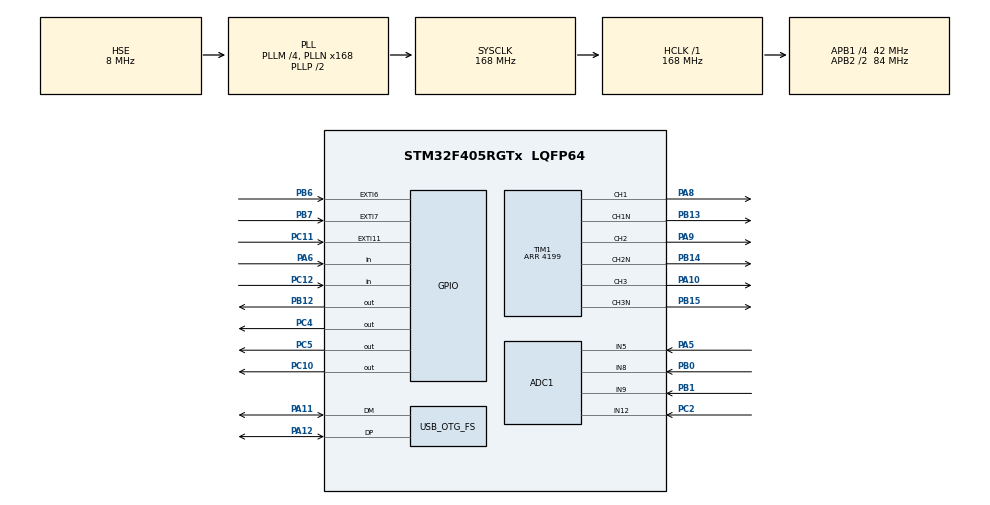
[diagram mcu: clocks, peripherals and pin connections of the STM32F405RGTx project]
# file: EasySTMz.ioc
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ADC1.Channel-0\#ChannelRegularConversion=ADC_CHANNEL_5
ADC1.Channel-1\#ChannelInjectedConversion=ADC_CHANNEL_8
ADC1.Channel-2\#ChannelInjectedConversion=ADC_CHANNEL_9
ADC1.Channel-3\#ChannelRegularConversion=ADC_CHANNEL_12
ADC1.ExternalTrigInjecConv=ADC_EXTERNALTRIGINJECCONV_T1_TRGO
ADC1.InjNumberOfConversion=2
ADC1.InjectedOffset-1\#ChannelInjectedConversion=0
ADC1.InjectedOffset-2\#ChannelInjectedConversion=0
ADC1.InjectedRank-1\#ChannelInjectedConversion=1
ADC1.InjectedRank-2\#ChannelInjectedConversion=2
ADC1.NbrOfConversion=2
ADC1.NbrOfConversionFlag=1
ADC1.Rank-0\#ChannelRegularConversion=1
ADC1.Rank-3\#ChannelRegularConversion=2
ADC1.SamplingTime-0\#ChannelRegularConversion=ADC_SAMPLETIME_84CYCLES
ADC1.SamplingTime-1\#ChannelInjectedConversion=ADC_SAMPLETIME_15CYCLES
ADC1.SamplingTime-2\#ChannelInjectedConversion=ADC_SAMPLETIME_15CYCLES
ADC1.SamplingTime-3\#ChannelRegularConversion=ADC_SAMPLETIME_84CYCLES
ADC1.master=1
Mcu.Family=STM32F4
Mcu.Name=STM32F405RGTx
Mcu.Package=LQFP64
NVIC.ADC_IRQn=true\:0\:0\:false\:false\:true\:true\:true\:true
NVIC.EXTI15_10_IRQn=true\:1\:0\:true\:false\:true\:true\:true\:true
NVIC.EXTI9_5_IRQn=true\:1\:0\:true\:false\:true\:true\:true\:true
NVIC.OTG_FS_IRQn=true\:0\:0\:false\:false\:true\:false\:true\:true
NVIC.PriorityGroup=NVIC_PRIORITYGROUP_4
PA10.Signal=S_TIM1_CH3
PA11.Mode=Device_Only
PA11.Signal=USB_OTG_FS_DM
PA12.Mode=Device_Only
PA12.Signal=USB_OTG_FS_DP
PA13.Mode=Serial_Wire
PA13.Signal=SYS_JTMS-SWDIO
PA14.Mode=Serial_Wire
PA14.Signal=SYS_JTCK-SWCLK
PA5.Signal=ADCx_IN5
PA6.Signal=GPIO_Input
PA8.Signal=S_TIM1_CH1
PA9.Signal=S_TIM1_CH2
PB0.Signal=ADCx_IN8
PB1.Signal=ADCx_IN9
PB12.Signal=GPIO_Output
PB13.Mode=PWM Generation1 CH1 CH1N
PB13.Signal=TIM1_CH1N
PB14.Mode=PWM Generation2 CH2 CH2N
PB14.Signal=TIM1_CH2N
PB15.Mode=PWM Generation3 CH3 CH3N
PB15.Signal=TIM1_CH3N
PB6.GPIO_ModeDefaultEXTI=GPIO_MODE_IT_RISING_FALLING
PB6.Signal=GPXTI6
PB7.GPIO_ModeDefaultEXTI=GPIO_MODE_IT_RISING_FALLING
PB7.Signal=GPXTI7
PC10.Signal=GPIO_Output
PC11.GPIO_ModeDefaultEXTI=GPIO_MODE_IT_RISING_FALLING
PC11.Signal=GPXTI11
PC12.GPIO_PuPd=GPIO_PULLUP
PC12.Signal=GPIO_Input
PC2.Signal=ADCx_IN12
PC4.Signal=GPIO_Output
PC5.Signal=GPIO_Output
PH0-OSC_IN.Mode=HSE-External-Oscillator
PH0-OSC_IN.Signal=RCC_OSC_IN
PH1-OSC_OUT.Mode=HSE-External-Oscillator
PH1-OSC_OUT.Signal=RCC_OSC_OUT
ProjectManager.HeapSize=0x600
ProjectManager.StackSize=0x1000
ProjectManager.TargetToolchain=STM32CubeIDE
RCC.48MHZClocksFreq_Value=48000000
RCC.AHBFreq_Value=168000000
RCC.APB1CLKDivider=RCC_HCLK_DIV4
RCC.APB1Freq_Value=42000000
RCC.APB1TimFreq_Value=84000000
RCC.APB2CLKDivider=RCC_HCLK_DIV2
RCC.APB2Freq_Value=84000000
RCC.APB2TimFreq_Value=168000000
RCC.CortexFreq_Value=168000000
RCC.HCLKFreq_Value=168000000
RCC.HSE_VALUE=8000000
RCC.HSI_VALUE=16000000
RCC.LSE_VALUE=32768
RCC.PLLM=4
RCC.PLLN=168
RCC.PLLQ=7
RCC.SYSCLKFreq_VALUE=168000000
RCC.SYSCLKSource=RCC_SYSCLKSOURCE_PLLCLK
RCC.VCOOutputFreq_Value=336000000
SH.ADCx_IN12.0=ADC1_IN12,IN12
SH.ADCx_IN5.0=ADC1_IN5,IN5
SH.ADCx_IN8.0=ADC1_IN8,IN8
SH.ADCx_IN9.0=ADC1_IN9,IN9
SH.S_TIM1_CH1.0=TIM1_CH1,PWM Generation1 CH1 CH1N
SH.S_TIM1_CH2.0=TIM1_CH2,PWM Generation2 CH2 CH2N
SH.S_TIM1_CH3.0=TIM1_CH3,PWM Generation3 CH3 CH3N
TIM1.Channel-PWM\ Generation1\ CH1\ CH1N=TIM_CHANNEL_1
TIM1.Channel-PWM\ Generation2\ CH2\ CH2N=TIM_CHANNEL_2
TIM1.Channel-PWM\ Generation3\ CH3\ CH3N=TIM_CHANNEL_3
TIM1.CounterMode=TIM_COUNTERMODE_CENTERALIGNED1
TIM1.DeadTime=67
TIM1.Period=4199
TIM1.RepetitionCounter=1
TIM1.TIM_MasterOutputTrigger=TIM_TRGO_UPDATE
USB_DEVICE.CLASS_NAME_FS=CDC
USB_DEVICE.VirtualMode-CDC_FS=Cdc
USB_DEVICE.VirtualModeFS=Cdc_FS
USB_OTG_FS.VirtualMode=Device_Only
VP_USB_DEVICE_VS_USB_DEVICE_CDC_FS.Mode=CDC_FS
board=custom

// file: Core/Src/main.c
/* USER CODE BEGIN Header */
/**
  ******************************************************************************
  * @file           : main.c
  * @brief          : Main program body
  ******************************************************************************
  * @attention
  *
  * Copyright (c) 2026 STMicroelectronics.
  * All rights reserved.
  *
  * This software is licensed under terms that can be found in the LICENSE file
  * in the root directory of this software component.
  * If no LICENSE file comes with this software, it is provided AS-IS.
  *
  ******************************************************************************
  */
/* USER CODE END Header */
#include "main.h"
#include "usb_device.h"

/* USER CODE BEGIN Includes */
#include "main.h"
#include "usb_device.h"
#include "usbd_cdc_if.h"
#include <stdio.h>
/* USER CODE END Includes */

ADC_HandleTypeDef hadc1;

TIM_HandleTypeDef htim1;

/* USER CODE BEGIN PV */
volatile uint8_t usb_throttle_target = 0;
const uint8_t hallToMotor[8] = {255, 1, 3, 2, 5, 6, 4, 255};

uint32_t lastDebugPrint = 0;
uint32_t faultResetCount = 0;
float v_bat = 0.0f;
uint16_t raw_throttle = 0;

// Variables to catch the hardware-synced ADC readings
volatile uint16_t current_phase_A = 0;
volatile uint16_t current_phase_C = 0;
/* USER CODE END PV */

void SystemClock_Config(void);
static void MX_GPIO_Init(void);
static void MX_ADC1_Init(void);
static void MX_TIM1_Init(void);
/* USER CODE BEGIN PFP */
void Commutate(uint8_t state, uint16_t throttle);
/* USER CODE END PFP */

/* USER CODE BEGIN 0 */

// Retarget standard library printf to the USB CDC interface safely
int _write(int file, char *ptr, int len) {
    uint32_t timeout = 500000; // Failsafe timeout to prevent locking the MCU

    // Wait until the USB interface is no longer BUSY
    while (CDC_Transmit_FS((uint8_t*)ptr, len) == USBD_BUSY && timeout-- > 0) {
        // Do nothing, just wait
    }
    return len;
}
/* USER CODE END 0 */

int main(void)
{

  /* MCU Configuration--------------------------------------------------------*/

  /* Reset of all peripherals, Initializes the Flash interface and the Systick. */
  HAL_Init();

  /* Configure the system clock */
  SystemClock_Config();

  /* Initialize all configured peripherals */
  MX_GPIO_Init();
  MX_ADC1_Init();
  MX_TIM1_Init();
  MX_USB_DEVICE_Init();
  /* USER CODE BEGIN 2 */
  // Start the High-Side PWM channels
  HAL_TIM_PWM_Start(&htim1, TIM_CHANNEL_1); // Phase C
  HAL_TIM_PWM_Start(&htim1, TIM_CHANNEL_2); // Phase B
  HAL_TIM_PWM_Start(&htim1, TIM_CHANNEL_3); // Phase A

  // Start the Low-Side Complementary channels
  HAL_TIMEx_PWMN_Start(&htim1, TIM_CHANNEL_1);
  HAL_TIMEx_PWMN_Start(&htim1, TIM_CHANNEL_2);
  HAL_TIMEx_PWMN_Start(&htim1, TIM_CHANNEL_3);

  Commutate(0, 0);
  // 2. Start the Hardware-Synced Current Sensing
  HAL_ADCEx_InjectedStart_IT(&hadc1);

  setvbuf(stdout, NULL, _IONBF, 0); // Disable printf buffering
  // 3. Calibrate ADC & Check High Voltage
  printf("Waiting for High Voltage power supply...\r\n");
  do {
	HAL_ADC_Start(&hadc1);
	HAL_ADC_PollForConversion(&hadc1, 5);
	HAL_ADC_GetValue(&hadc1);             // <-- ADD THIS: Physically pulls data to clear EOC flag
	HAL_ADC_PollForConversion(&hadc1, 5);
	uint16_t raw_v = HAL_ADC_GetValue(&hadc1);
	v_bat = (raw_v / 4095.0f) * 3.3f * ((39000.0f + 2200.0f) / 2200.0f);
	HAL_Delay(100);
  } while (v_bat < 8.0f);

  printf("SUCCESS: High Voltage detected at %.2fV\r\n", v_bat);

  // 4. Enable the DRV8302 Gate Driver
  HAL_GPIO_WritePin(GPIOC, GPIO_PIN_10, GPIO_PIN_SET); // EN_GATE HIGH
  HAL_Delay(100);
  /* USER CODE END 2 */

  /* Infinite loop */
  while (1)
  {

    /* USER CODE BEGIN 3 */
	  // --- Kickstart & Instant-Stop Logic ---
	  static uint8_t active_throttle = 0;

	  if (usb_throttle_target > 0 && active_throttle == 0) {
		  // Kickstart: The motor is stopped. Read halls manually to fire the first commutation.
		  uint8_t hallA = (GPIOB->IDR & GPIO_PIN_6)  ? 1 : 0;
		  uint8_t hallB = (GPIOB->IDR & GPIO_PIN_7)  ? 1 : 0;
		  uint8_t hallC = (GPIOC->IDR & GPIO_PIN_11) ? 1 : 0;
		  uint8_t hall_val = hallA | (hallB << 1) | (hallC << 2);

		  Commutate(hallToMotor[hall_val], usb_throttle_target);
	  }
	  else if (usb_throttle_target == 0 && active_throttle > 0) {
		  // Instant Stop: Cut power immediately instead of waiting for a slow coasting interrupt
		  Commutate(0, 0);
	  }

	  active_throttle = usb_throttle_target; // Update the tracker
	  // ===== 1. Hardware Fault Check (DRV8302 Active-Low Fault) =====
	  if (HAL_GPIO_ReadPin(GPIOC, GPIO_PIN_12) == GPIO_PIN_RESET) {
		  faultResetCount++;

		  // --- ADD THESE TWO LINES FOR SAFETY ---
		  usb_throttle_target = 0; // Force user to manually throttle up again
		  Commutate(0, 0);         // Instantly disconnect all MOSFETs

		  HAL_GPIO_WritePin(GPIOC, GPIO_PIN_5, GPIO_PIN_SET); // LED_RED ON
		  printf("!!! DRV FAULT !!! Resetting EN_GATE. Throttle Zeroed.\r\n");

		  // Pulse EN_GATE low to clear latched faults
		  HAL_GPIO_WritePin(GPIOC, GPIO_PIN_10, GPIO_PIN_RESET);
		  HAL_Delay(1); // 1 ms guarantees a successful hardware latch clear
		  HAL_GPIO_WritePin(GPIOC, GPIO_PIN_10, GPIO_PIN_SET);
	  } else {
		  HAL_GPIO_WritePin(GPIOC, GPIO_PIN_5, GPIO_PIN_RESET); // LED_RED OFF
	  }

	  // ===== 2. Read Regular ADC (Throttle & Voltage) =====
	  HAL_ADC_Start(&hadc1);
	  if (HAL_ADC_PollForConversion(&hadc1, 5) == HAL_OK) {
		  raw_throttle = HAL_ADC_GetValue(&hadc1); // Rank 1: Throttle
	  }
	  if (HAL_ADC_PollForConversion(&hadc1, 5) == HAL_OK) {
		  uint16_t raw_v = HAL_ADC_GetValue(&hadc1); // Rank 2: Bus Voltage
		  v_bat = (raw_v / 4095.0f) * 3.3f * ((39000.0f + 2200.0f) / 2200.0f);
	  }

	  // Turn on Green LED if throttle is active (using your USB override variable)
	  HAL_GPIO_WritePin(GPIOC, GPIO_PIN_4, (usb_throttle_target > 0) ? GPIO_PIN_SET : GPIO_PIN_RESET);

	  // ===== 3. Telemetry Heartbeat (Non-blocking, 500ms) =====
	  if (HAL_GetTick() - lastDebugPrint >= 500) {
		  lastDebugPrint = HAL_GetTick();

		  printf("[DATA] Thr_Target: %d | IA_Raw: %d | IC_Raw: %d | Bus: %.2fV | Resets: %lu\r\n",
				  usb_throttle_target,
				  current_phase_A,
				  current_phase_C,
				  v_bat,
				  faultResetCount);
	  }
  }
  /* USER CODE END 3 */
}

void SystemClock_Config(void)
{
  RCC_OscInitTypeDef RCC_OscInitStruct = {0};
  RCC_ClkInitTypeDef RCC_ClkInitStruct = {0};

  /** Configure the main internal regulator output voltage
  */
  __HAL_RCC_PWR_CLK_ENABLE();
  __HAL_PWR_VOLTAGESCALING_CONFIG(PWR_REGULATOR_VOLTAGE_SCALE1);

  /** Initializes the RCC Oscillators according to the specified parameters
  * in the RCC_OscInitTypeDef structure.
  */
  RCC_OscInitStruct.OscillatorType = RCC_OSCILLATORTYPE_HSE;
  RCC_OscInitStruct.HSEState = RCC_HSE_ON;
  RCC_OscInitStruct.PLL.PLLState = RCC_PLL_ON;
  RCC_OscInitStruct.PLL.PLLSource = RCC_PLLSOURCE_HSE;
  RCC_OscInitStruct.PLL.PLLM = 4;
  RCC_OscInitStruct.PLL.PLLN = 168;
  RCC_OscInitStruct.PLL.PLLP = RCC_PLLP_DIV2;
  RCC_OscInitStruct.PLL.PLLQ = 7;
  if (HAL_RCC_OscConfig(&RCC_OscInitStruct) != HAL_OK)
  {
    Error_Handler();
  }

  /** Initializes the CPU, AHB and APB buses clocks
  */
  RCC_ClkInitStruct.ClockType = RCC_CLOCKTYPE_HCLK|RCC_CLOCKTYPE_SYSCLK
                              |RCC_CLOCKTYPE_PCLK1|RCC_CLOCKTYPE_PCLK2;
  RCC_ClkInitStruct.SYSCLKSource = RCC_SYSCLKSOURCE_PLLCLK;
  RCC_ClkInitStruct.AHBCLKDivider = RCC_SYSCLK_DIV1;
  RCC_ClkInitStruct.APB1CLKDivider = RCC_HCLK_DIV4;
  RCC_ClkInitStruct.APB2CLKDivider = RCC_HCLK_DIV2;

  if (HAL_RCC_ClockConfig(&RCC_ClkInitStruct, FLASH_LATENCY_5) != HAL_OK)
  {
    Error_Handler();
  }
}

static void MX_ADC1_Init(void)
{

  ADC_ChannelConfTypeDef sConfig = {0};
  ADC_InjectionConfTypeDef sConfigInjected = {0};

  /** Configure the global features of the ADC (Clock, Resolution, Data Alignment and number of conversion)
  */
  hadc1.Instance = ADC1;
  hadc1.Init.ClockPrescaler = ADC_CLOCK_SYNC_PCLK_DIV4;
  hadc1.Init.Resolution = ADC_RESOLUTION_12B;
  hadc1.Init.ScanConvMode = ENABLE;
  hadc1.Init.ContinuousConvMode = DISABLE;
  hadc1.Init.DiscontinuousConvMode = DISABLE;
  hadc1.Init.ExternalTrigConvEdge = ADC_EXTERNALTRIGCONVEDGE_NONE;
  hadc1.Init.ExternalTrigConv = ADC_SOFTWARE_START;
  hadc1.Init.DataAlign = ADC_DATAALIGN_RIGHT;
  hadc1.Init.NbrOfConversion = 2;
  hadc1.Init.DMAContinuousRequests = DISABLE;
  hadc1.Init.EOCSelection = ADC_EOC_SINGLE_CONV;
  if (HAL_ADC_Init(&hadc1) != HAL_OK)
  {
    Error_Handler();
  }

  /** Configure for the selected ADC regular channel its corresponding rank in the sequencer and its sample time.
  */
  sConfig.Channel = ADC_CHANNEL_5;
  sConfig.Rank = 1;
  sConfig.SamplingTime = ADC_SAMPLETIME_84CYCLES;
  if (HAL_ADC_ConfigChannel(&hadc1, &sConfig) != HAL_OK)
  {
    Error_Handler();
  }

  /** Configure for the selected ADC regular channel its corresponding rank in the sequencer and its sample time.
  */
  sConfig.Channel = ADC_CHANNEL_12;
  sConfig.Rank = 2;
  if (HAL_ADC_ConfigChannel(&hadc1, &sConfig) != HAL_OK)
  {
    Error_Handler();
  }

  /** Configures for the selected ADC injected channel its corresponding rank in the sequencer and its sample time
  */
  sConfigInjected.InjectedChannel = ADC_CHANNEL_8;
  sConfigInjected.InjectedRank = 1;
  sConfigInjected.InjectedNbrOfConversion = 2;
  sConfigInjected.InjectedSamplingTime = ADC_SAMPLETIME_15CYCLES;
  sConfigInjected.ExternalTrigInjecConvEdge = ADC_EXTERNALTRIGINJECCONVEDGE_RISING;
  sConfigInjected.ExternalTrigInjecConv = ADC_EXTERNALTRIGINJECCONV_T1_TRGO;
  sConfigInjected.AutoInjectedConv = DISABLE;
  sConfigInjected.InjectedDiscontinuousConvMode = DISABLE;
  sConfigInjected.InjectedOffset = 0;
  if (HAL_ADCEx_InjectedConfigChannel(&hadc1, &sConfigInjected) != HAL_OK)
  {
    Error_Handler();
  }

  /** Configures for the selected ADC injected channel its corresponding rank in the sequencer and its sample time
  */
  sConfigInjected.InjectedChannel = ADC_CHANNEL_9;
  sConfigInjected.InjectedRank = 2;
  if (HAL_ADCEx_InjectedConfigChannel(&hadc1, &sConfigInjected) != HAL_OK)
  {
    Error_Handler();
  }

}

static void MX_TIM1_Init(void)
{

  TIM_MasterConfigTypeDef sMasterConfig = {0};
  TIM_OC_InitTypeDef sConfigOC = {0};
  TIM_BreakDeadTimeConfigTypeDef sBreakDeadTimeConfig = {0};

  htim1.Instance = TIM1;
  htim1.Init.Prescaler = 0;
  htim1.Init.CounterMode = TIM_COUNTERMODE_CENTERALIGNED1;
  htim1.Init.Period = 4199;
  htim1.Init.ClockDivision = TIM_CLOCKDIVISION_DIV1;
  htim1.Init.RepetitionCounter = 1;
  htim1.Init.AutoReloadPreload = TIM_AUTORELOAD_PRELOAD_DISABLE;
  if (HAL_TIM_PWM_Init(&htim1) != HAL_OK)
  {
    Error_Handler();
  }
  sMasterConfig.MasterOutputTrigger = TIM_TRGO_UPDATE;
  sMasterConfig.MasterSlaveMode = TIM_MASTERSLAVEMODE_DISABLE;
  if (HAL_TIMEx_MasterConfigSynchronization(&htim1, &sMasterConfig) != HAL_OK)
  {
    Error_Handler();
  }
  sConfigOC.OCMode = TIM_OCMODE_PWM1;
  sConfigOC.Pulse = 0;
  sConfigOC.OCPolarity = TIM_OCPOLARITY_HIGH;
  sConfigOC.OCNPolarity = TIM_OCNPOLARITY_HIGH;
  sConfigOC.OCFastMode = TIM_OCFAST_DISABLE;
  sConfigOC.OCIdleState = TIM_OCIDLESTATE_RESET;
  sConfigOC.OCNIdleState = TIM_OCNIDLESTATE_RESET;
  if (HAL_TIM_PWM_ConfigChannel(&htim1, &sConfigOC, TIM_CHANNEL_1) != HAL_OK)
  {
    Error_Handler();
  }
  if (HAL_TIM_PWM_ConfigChannel(&htim1, &sConfigOC, TIM_CHANNEL_2) != HAL_OK)
  {
    Error_Handler();
  }
  if (HAL_TIM_PWM_ConfigChannel(&htim1, &sConfigOC, TIM_CHANNEL_3) != HAL_OK)
  {
    Error_Handler();
  }
  sBreakDeadTimeConfig.OffStateRunMode = TIM_OSSR_DISABLE;
  sBreakDeadTimeConfig.OffStateIDLEMode = TIM_OSSI_DISABLE;
  sBreakDeadTimeConfig.LockLevel = TIM_LOCKLEVEL_OFF;
  sBreakDeadTimeConfig.DeadTime = 67;
  sBreakDeadTimeConfig.BreakState = TIM_BREAK_DISABLE;
  sBreakDeadTimeConfig.BreakPolarity = TIM_BREAKPOLARITY_HIGH;
  sBreakDeadTimeConfig.AutomaticOutput = TIM_AUTOMATICOUTPUT_DISABLE;
  if (HAL_TIMEx_ConfigBreakDeadTime(&htim1, &sBreakDeadTimeConfig) != HAL_OK)
  {
    Error_Handler();
  }
  HAL_TIM_MspPostInit(&htim1);

}

static void MX_GPIO_Init(void)
{
  GPIO_InitTypeDef GPIO_InitStruct = {0};

  /* GPIO Ports Clock Enable */
  __HAL_RCC_GPIOH_CLK_ENABLE();
  __HAL_RCC_GPIOC_CLK_ENABLE();
  __HAL_RCC_GPIOA_CLK_ENABLE();
  __HAL_RCC_GPIOB_CLK_ENABLE();

  /*Configure GPIO pin Output Level */
  HAL_GPIO_WritePin(GPIOC, GPIO_PIN_4|GPIO_PIN_5|GPIO_PIN_10, GPIO_PIN_RESET);

  /*Configure GPIO pin Output Level */
  HAL_GPIO_WritePin(GPIOB, GPIO_PIN_12, GPIO_PIN_RESET);

  /*Configure GPIO pin : PA6 */
  GPIO_InitStruct.Pin = GPIO_PIN_6;
  GPIO_InitStruct.Mode = GPIO_MODE_INPUT;
  GPIO_InitStruct.Pull = GPIO_NOPULL;
  HAL_GPIO_Init(GPIOA, &GPIO_InitStruct);

  /*Configure GPIO pins : PC4 PC5 PC10 */
  GPIO_InitStruct.Pin = GPIO_PIN_4|GPIO_PIN_5|GPIO_PIN_10;
  GPIO_InitStruct.Mode = GPIO_MODE_OUTPUT_PP;
  GPIO_InitStruct.Pull = GPIO_NOPULL;
  GPIO_InitStruct.Speed = GPIO_SPEED_FREQ_LOW;
  HAL_GPIO_Init(GPIOC, &GPIO_InitStruct);

  /*Configure GPIO pin : PB12 */
  GPIO_InitStruct.Pin = GPIO_PIN_12;
  GPIO_InitStruct.Mode = GPIO_MODE_OUTPUT_PP;
  GPIO_InitStruct.Pull = GPIO_NOPULL;
  GPIO_InitStruct.Speed = GPIO_SPEED_FREQ_LOW;
  HAL_GPIO_Init(GPIOB, &GPIO_InitStruct);

  /*Configure GPIO pin : PC11 */
  GPIO_InitStruct.Pin = GPIO_PIN_11;
  GPIO_InitStruct.Mode = GPIO_MODE_IT_RISING_FALLING;
  GPIO_InitStruct.Pull = GPIO_NOPULL;
  HAL_GPIO_Init(GPIOC, &GPIO_InitStruct);

  /*Configure GPIO pin : PC12 */
  GPIO_InitStruct.Pin = GPIO_PIN_12;
  GPIO_InitStruct.Mode = GPIO_MODE_INPUT;
  GPIO_InitStruct.Pull = GPIO_PULLUP;
  HAL_GPIO_Init(GPIOC, &GPIO_InitStruct);

  /*Configure GPIO pins : PB6 PB7 */
  GPIO_InitStruct.Pin = GPIO_PIN_6|GPIO_PIN_7;
  GPIO_InitStruct.Mode = GPIO_MODE_IT_RISING_FALLING;
  GPIO_InitStruct.Pull = GPIO_NOPULL;
  HAL_GPIO_Init(GPIOB, &GPIO_InitStruct);

  /* EXTI interrupt init*/
  HAL_NVIC_SetPriority(EXTI9_5_IRQn, 1, 0);
  HAL_NVIC_EnableIRQ(EXTI9_5_IRQn);

  HAL_NVIC_SetPriority(EXTI15_10_IRQn, 1, 0);
  HAL_NVIC_EnableIRQ(EXTI15_10_IRQn);

}

/* USER CODE BEGIN 4 */
void Commutate(uint8_t state, uint16_t throttle) {
	// SAFETY OVERRIDE: If throttle is 0, force state to 0 to coast/freewheel
	if (throttle == 0) {
		state = 0;
	}

	uint32_t duty = (throttle * 4199) / 255;

    // 1. Force ALL gates OFF instantly to prevent any cross-conduction during state changes
    TIM1->CCER &= ~(TIM_CCER_CC1E | TIM_CCER_CC1NE |
                    TIM_CCER_CC2E | TIM_CCER_CC2NE |
                    TIM_CCER_CC3E | TIM_CCER_CC3NE);

    // 2. Set the duty cycle for all channels (doesn't output yet because CCER is off)
    TIM1->CCR1 = duty; // Phase C
    TIM1->CCR2 = duty; // Phase B
    TIM1->CCR3 = duty; // Phase A

    // 3. Enable only the specific High and Low sides needed for this step
    switch (state) {
        case 1:
            // Phase C High, Phase A Low. Phase B floats.
            TIM1->CCER |= (TIM_CCER_CC1E | TIM_CCER_CC3NE);
            // Set Phase A duty to 0 so the Low side is fully ON (Complementary logic)
            TIM1->CCR3 = 0;
            break;
        case 2:
            // Phase C High, Phase B Low. Phase A floats.
            TIM1->CCER |= (TIM_CCER_CC1E | TIM_CCER_CC2NE);
            TIM1->CCR2 = 0;
            break;
        case 3:
            // Phase A High, Phase B Low. Phase C floats.
            TIM1->CCER |= (TIM_CCER_CC3E | TIM_CCER_CC2NE);
            TIM1->CCR2 = 0;
            break;
        case 4:
            // Phase A High, Phase C Low. Phase B floats.
            TIM1->CCER |= (TIM_CCER_CC3E | TIM_CCER_CC1NE);
            TIM1->CCR1 = 0;
            break;
        case 5:
            // Phase B High, Phase C Low. Phase A floats.
            TIM1->CCER |= (TIM_CCER_CC2E | TIM_CCER_CC1NE);
            TIM1->CCR1 = 0;
            break;
        case 6:
            // Phase B High, Phase A Low. Phase C floats.
            TIM1->CCER |= (TIM_CCER_CC2E | TIM_CCER_CC3NE);
            TIM1->CCR3 = 0;
            break;
        default:
            // State 0 or invalid: All gates remain OFF (Coasting/Freewheeling)
            break;
    }
}

void HAL_GPIO_EXTI_Callback(uint16_t GPIO_Pin)
{
    // A static variable retains its value between interrupt fires
    static uint8_t last_hall_val = 255;

    if(GPIO_Pin == GPIO_PIN_6 || GPIO_Pin == GPIO_PIN_7 || GPIO_Pin == GPIO_PIN_11)
    {
        uint8_t hallA = (GPIOB->IDR & GPIO_PIN_6)  ? 1 : 0;
        uint8_t hallB = (GPIOB->IDR & GPIO_PIN_7)  ? 1 : 0;
        uint8_t hallC = (GPIOC->IDR & GPIO_PIN_11) ? 1 : 0;

        uint8_t hall_val = hallA | (hallB << 1) | (hallC << 2);

        // ONLY commutate if the hall state actually changed (ignores hardware bounce)
        if (hall_val != last_hall_val) {
            last_hall_val = hall_val; // Update the latch
            uint8_t state = hallToMotor[hall_val];
            Commutate(state, usb_throttle_target);
        }
    }
}

void HAL_ADCEx_InjectedConvCpltCallback(ADC_HandleTypeDef* hadc) {
    if(hadc->Instance == ADC1) {
        // Grab the data out of the hardware registers.
        // Rank 1 is Phase C (PB0), Rank 2 is Phase A (PB1) as set in CubeMX.
        current_phase_C = HAL_ADCEx_InjectedGetValue(hadc, ADC_INJECTED_RANK_1);
        current_phase_A = HAL_ADCEx_InjectedGetValue(hadc, ADC_INJECTED_RANK_2);
    }
}

/* USER CODE END 4 */

void Error_Handler(void)
{
  __disable_irq();
  while (1)
  {
  }
}
